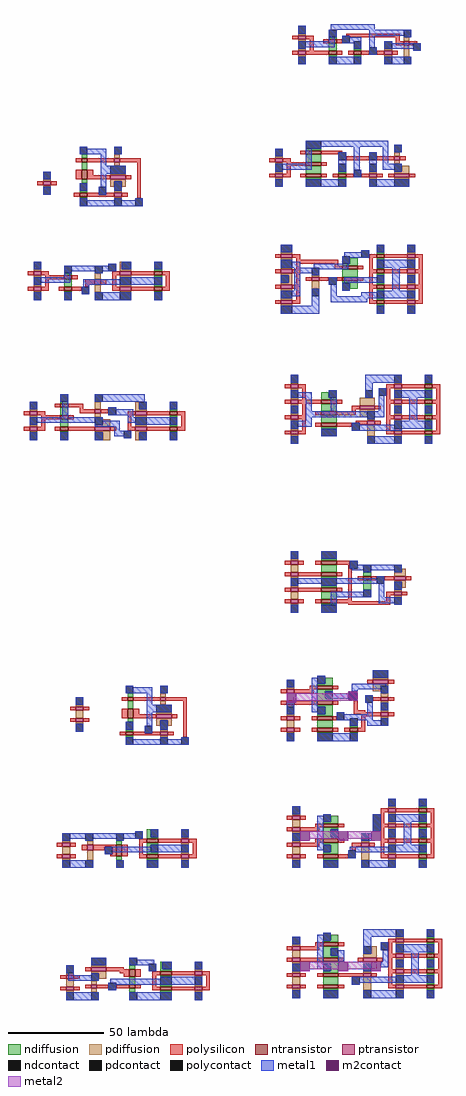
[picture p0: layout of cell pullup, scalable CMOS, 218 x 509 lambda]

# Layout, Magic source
magic
tech scmos
use m_p1 m_p1_0
transform 1 0 107 0 1 150
box -109 35 -42 57
use s_p1_phi s_p1_phi_0
transform 1 0 -23 0 1 133
box -113 -21 -57 10
use m_p1_phi m_p1_phi_0
transform 1 0 92 0 1 96
box -106 25 -30 50
use s_p1inv s_p1inv_0
transform 1 0 -26 0 1 79
box -114 -18 -39 6
use m_p1inv m_p1inv_0
transform 1 0 112 0 1 61
box -123 -7 -45 33
use s_p1inv_plo s_p1inv_plo_0
transform 1 0 -27 0 1 6
box -115 -18 -30 8
use m_p1inv_plo m_p1inv_plo_0
transform 1 0 113 0 1 -7
box -119 -7 -37 33
use m_p2 m_p2_0
transform 1 0 -5 0 1 -80
box -2 -21 65 13
use s_p2_phi s_p2_phi_0
transform 1 0 -113 0 1 -161
box -6 -8 57 23
use m_p2_phi m_p2_phi_0
transform 1 0 -9 0 1 -141
box 1 -27 60 11
use s_p2inv s_p2inv_0
transform 1 0 -210 0 1 -300
box 85 65 159 89
use m_p2inv m_p2inv_0
transform 1 0 -102 0 1 -300
box 97 65 175 105
use s_p2inv_plo s_p2inv_plo_0
transform 1 0 -214 0 1 -362
box 91 58 170 82
use m_p2inv_plo m_p2inv_plo_0
transform 1 0 -98 0 1 -368
box 92 65 175 105
<< end >>

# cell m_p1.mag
magic
tech scmos
<< ndiffusion >>
rect -90 49 -86 50
rect -90 43 -86 47
rect -77 43 -73 44
rect -90 40 -86 41
rect -77 40 -73 41
<< pdiffusion >>
rect -106 51 -102 52
rect -106 48 -102 49
rect -106 43 -102 44
rect -51 48 -48 50
rect -61 43 -57 44
rect -106 40 -102 41
rect -61 40 -57 41
rect -51 40 -48 46
<< ntransistor >>
rect -90 47 -86 49
rect -90 41 -86 43
rect -77 41 -73 43
<< ptransistor >>
rect -106 49 -102 51
rect -106 41 -102 43
rect -51 46 -48 48
rect -61 41 -57 43
<< polysilicon >>
rect -109 49 -106 51
rect -102 49 -98 51
rect -81 51 -53 52
rect -100 43 -98 49
rect -93 47 -90 49
rect -86 47 -83 49
rect -79 50 -53 51
rect -55 48 -53 50
rect -109 41 -106 43
rect -102 41 -90 43
rect -86 41 -83 43
rect -80 41 -77 43
rect -73 41 -69 43
rect -55 46 -51 48
rect -48 47 -44 48
rect -48 46 -46 47
rect -65 41 -61 43
rect -57 41 -54 43
<< ndcontact >>
rect -90 50 -86 54
rect -77 44 -73 48
rect -90 36 -86 40
rect -77 36 -73 40
<< pdcontact >>
rect -106 52 -102 56
rect -106 44 -102 48
rect -51 50 -47 54
rect -61 44 -57 48
rect -106 36 -102 40
rect -61 36 -57 40
rect -51 36 -47 40
<< polycontact >>
rect -83 47 -79 51
rect -69 41 -65 45
rect -46 43 -42 47
<< metal1 >>
rect -106 52 -102 56
rect -89 54 -66 57
rect -90 50 -86 54
rect -69 51 -47 54
rect -83 50 -79 51
rect -90 48 -87 50
rect -106 45 -87 48
rect -83 47 -73 50
rect -106 44 -102 45
rect -77 44 -73 47
rect -69 45 -66 51
rect -51 50 -47 51
rect -61 47 -57 48
rect -69 41 -65 45
rect -61 44 -42 47
rect -46 43 -42 44
rect -106 36 -102 40
rect -90 36 -73 40
rect -61 36 -47 40
<< labels >>
rlabel polysilicon -107 42 -107 42 3 a
rlabel polysilicon -107 50 -107 50 3 a
rlabel space -109 35 -105 57 7 ^p
rlabel pdcontact -104 38 -104 38 1 Vdd!
rlabel pdcontact -104 54 -104 54 5 Vdd!
rlabel pdcontact -104 46 -104 46 3 _x
rlabel ndcontact -88 52 -88 52 5 _x
rlabel polycontact -67 43 -67 43 1 _x
rlabel ndcontact -88 38 -88 38 1 GND!
rlabel ndcontact -75 38 -75 38 1 GND!
rlabel pdcontact -49 52 -49 52 1 _x
rlabel pdcontact -49 38 -49 38 1 Vdd!
rlabel pdcontact -59 38 -59 38 1 Vdd!
<< end >>

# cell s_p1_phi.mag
magic
tech scmos
<< ndiffusion >>
rect -89 4 -86 6
rect -89 -2 -86 2
rect -89 -9 -86 -7
rect -90 -14 -86 -13
rect -90 -17 -86 -16
<< pdiffusion >>
rect -72 4 -69 6
rect -72 0 -69 2
rect -74 -5 -66 -4
rect -109 -8 -105 -7
rect -109 -11 -105 -10
rect -74 -8 -66 -7
rect -74 -11 -72 -8
rect -68 -11 -66 -8
rect -72 -14 -68 -13
rect -72 -17 -68 -16
<< ntransistor >>
rect -89 2 -86 4
rect -89 -7 -86 -2
rect -90 -16 -86 -14
<< ptransistor >>
rect -72 2 -69 4
rect -74 -7 -66 -5
rect -109 -10 -105 -8
rect -72 -16 -68 -14
<< polysilicon >>
rect -92 2 -89 4
rect -86 2 -72 4
rect -69 2 -58 4
rect -92 -7 -89 -2
rect -86 -5 -83 -2
rect -86 -7 -74 -5
rect -66 -7 -63 -5
rect -112 -10 -109 -8
rect -105 -10 -102 -8
rect -93 -16 -90 -14
rect -86 -15 -80 -14
rect -76 -15 -72 -14
rect -86 -16 -72 -15
rect -68 -16 -65 -14
rect -60 -17 -58 2
<< ndcontact >>
rect -90 6 -86 10
rect -90 -13 -86 -9
rect -90 -21 -86 -17
<< pdcontact >>
rect -72 6 -68 10
rect -109 -7 -105 -3
rect -74 -4 -66 0
rect -109 -15 -105 -11
rect -72 -13 -68 -8
rect -72 -21 -68 -17
<< polycontact >>
rect -80 -15 -76 -11
rect -61 -21 -57 -17
<< metal1 >>
rect -90 9 -86 10
rect -90 6 -76 9
rect -72 6 -68 10
rect -79 0 -76 6
rect -109 -7 -105 -3
rect -79 -4 -66 0
rect -109 -15 -105 -11
rect -90 -13 -86 -9
rect -79 -11 -76 -4
rect -80 -15 -76 -11
rect -72 -13 -68 -8
rect -90 -18 -86 -17
rect -72 -18 -68 -17
rect -61 -18 -57 -17
rect -90 -21 -57 -18
<< labels >>
rlabel polysilicon -110 -9 -110 -9 3 a
rlabel space -113 -15 -109 -3 7 ^p
rlabel polysilicon -90 -6 -90 -6 1 _PReset!
rlabel pdcontact -107 -13 -107 -13 1 Vdd!
rlabel pdcontact -107 -5 -107 -5 3 _x
rlabel pdcontact -70 -11 -70 -11 1 Vdd!
rlabel ndcontact -88 -11 -88 -11 1 GND!
rlabel pdcontact -70 8 -70 8 1 Vdd!
rlabel pdcontact -70 -2 -70 -2 1 _x
rlabel ndcontact -88 8 -88 8 5 _x
<< end >>

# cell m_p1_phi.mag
magic
tech scmos
<< ndiffusion >>
rect -87 45 -79 46
rect -87 39 -79 43
rect -87 33 -79 37
rect -70 33 -66 34
rect -87 30 -79 31
rect -70 30 -66 31
<< pdiffusion >>
rect -103 41 -99 42
rect -41 42 -38 44
rect -103 38 -99 39
rect -103 33 -99 34
rect -41 38 -38 40
rect -54 33 -50 34
rect -37 34 -33 37
rect -41 33 -33 34
rect -103 30 -99 31
rect -54 30 -50 31
rect -41 30 -33 31
<< ntransistor >>
rect -87 43 -79 45
rect -87 37 -79 39
rect -87 31 -79 33
rect -70 31 -66 33
<< ptransistor >>
rect -103 39 -99 41
rect -41 40 -38 42
rect -103 31 -99 33
rect -54 31 -50 33
rect -41 31 -33 33
<< polysilicon >>
rect -90 43 -87 45
rect -79 44 -68 45
rect -79 43 -70 44
rect -106 39 -103 41
rect -99 39 -95 41
rect -66 40 -54 42
rect -50 40 -41 42
rect -38 40 -35 42
rect -97 37 -87 39
rect -79 37 -76 39
rect -97 33 -95 37
rect -106 31 -103 33
rect -99 31 -95 33
rect -90 31 -87 33
rect -79 31 -76 33
rect -73 31 -70 33
rect -66 31 -62 33
rect -58 31 -54 33
rect -50 31 -47 33
rect -44 31 -41 33
rect -33 31 -30 33
<< ndcontact >>
rect -87 46 -79 50
rect -70 34 -66 38
rect -87 26 -79 30
rect -70 26 -66 30
<< pdcontact >>
rect -103 42 -99 46
rect -41 44 -37 48
rect -103 34 -99 38
rect -54 34 -50 38
rect -41 34 -37 38
rect -103 26 -99 30
rect -54 26 -50 30
rect -41 26 -33 30
<< polycontact >>
rect -70 40 -66 44
rect -54 40 -50 44
rect -62 31 -58 35
<< metal1 >>
rect -87 47 -44 50
rect -87 46 -79 47
rect -103 42 -99 46
rect -87 38 -84 46
rect -103 35 -84 38
rect -103 34 -99 35
rect -70 34 -66 44
rect -62 35 -59 47
rect -62 31 -58 35
rect -54 34 -50 44
rect -47 38 -44 47
rect -41 44 -37 48
rect -47 35 -37 38
rect -41 34 -37 35
rect -103 26 -99 30
rect -87 26 -66 30
rect -54 26 -33 30
<< labels >>
rlabel polysilicon -32 32 -32 32 7 _PReset!
rlabel polysilicon -104 32 -104 32 3 a
rlabel polysilicon -104 40 -104 40 3 a
rlabel space -106 25 -102 47 7 ^p
rlabel polysilicon -88 32 -88 32 1 _PReset!
rlabel ndcontact -81 48 -81 48 5 _x
rlabel ndcontact -81 28 -81 28 1 GND!
rlabel ndcontact -68 28 -68 28 1 GND!
rlabel polycontact -60 33 -60 33 1 _x
rlabel pdcontact -52 28 -52 28 1 Vdd!
rlabel pdcontact -37 28 -37 28 8 Vdd!
rlabel pdcontact -39 36 -39 36 1 _x
rlabel pdcontact -101 28 -101 28 1 Vdd!
rlabel pdcontact -101 44 -101 44 5 Vdd!
rlabel pdcontact -101 36 -101 36 3 _x
rlabel pdcontact -39 46 -39 46 5 Vdd!
<< end >>

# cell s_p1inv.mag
magic
tech scmos
<< ndiffusion >>
rect -95 -3 -91 -2
rect -48 -1 -44 0
rect -95 -9 -91 -5
rect -95 -12 -91 -11
rect -48 -4 -44 -3
rect -48 -9 -44 -8
rect -48 -12 -44 -11
<< pdiffusion >>
rect -111 -1 -107 0
rect -66 0 -65 4
rect -66 -1 -60 0
rect -111 -4 -107 -3
rect -111 -9 -107 -8
rect -79 -5 -76 -2
rect -111 -12 -107 -11
rect -79 -12 -76 -8
rect -66 -4 -60 -3
rect -66 -9 -60 -8
rect -66 -12 -60 -11
<< ntransistor >>
rect -95 -5 -91 -3
rect -48 -3 -44 -1
rect -95 -11 -91 -9
rect -48 -11 -44 -9
<< ptransistor >>
rect -111 -3 -107 -1
rect -66 -3 -60 -1
rect -79 -8 -76 -5
rect -111 -11 -107 -9
rect -66 -11 -60 -9
<< polysilicon >>
rect -114 -3 -111 -1
rect -107 -3 -103 -1
rect -105 -5 -95 -3
rect -91 -5 -88 -3
rect -70 -3 -66 -1
rect -60 -3 -48 -1
rect -44 -3 -40 -1
rect -105 -9 -103 -5
rect -84 -8 -79 -5
rect -76 -8 -73 -5
rect -84 -9 -82 -8
rect -114 -11 -111 -9
rect -107 -11 -103 -9
rect -98 -11 -95 -9
rect -91 -11 -86 -9
rect -70 -9 -68 -3
rect -42 -9 -40 -3
rect -70 -11 -66 -9
rect -60 -11 -48 -9
rect -44 -11 -40 -9
<< ndcontact >>
rect -95 -2 -91 2
rect -48 0 -44 4
rect -95 -16 -91 -12
rect -48 -8 -44 -4
rect -48 -16 -44 -12
<< pdcontact >>
rect -111 0 -107 4
rect -79 -2 -75 2
rect -65 0 -60 4
rect -111 -8 -107 -4
rect -111 -16 -107 -12
rect -66 -8 -60 -4
rect -79 -16 -75 -12
rect -66 -16 -60 -12
<< polycontact >>
rect -72 -1 -68 3
rect -86 -13 -82 -9
<< metal1 >>
rect -111 0 -107 4
rect -72 2 -68 3
rect -95 -1 -68 2
rect -65 0 -60 4
rect -48 0 -44 4
rect -95 -2 -91 -1
rect -79 -2 -75 -1
rect -95 -4 -92 -2
rect -111 -7 -92 -4
rect -66 -5 -44 -4
rect -111 -8 -107 -7
rect -85 -8 -44 -5
rect -85 -9 -82 -8
rect -111 -16 -107 -12
rect -95 -16 -91 -12
rect -86 -13 -82 -9
rect -79 -16 -60 -12
rect -48 -16 -44 -12
<< labels >>
rlabel space -45 -17 -40 5 3 ^n2
rlabel space -61 -18 -39 6 3 ^p2
rlabel polysilicon -112 -2 -112 -2 3 a
rlabel polysilicon -112 -10 -112 -10 3 a
rlabel space -114 -17 -110 5 7 ^p1
rlabel polysilicon -96 -4 -96 -4 5 a
rlabel pdcontact -77 0 -77 0 6 _x
rlabel polycontact -70 1 -70 1 5 _x
rlabel pdcontact -63 -14 -63 -14 1 Vdd!
rlabel ndcontact -46 -14 -46 -14 1 GND!
rlabel ndcontact -46 2 -46 2 5 GND!
rlabel pdcontact -62 -6 -62 -6 1 x
rlabel ndcontact -46 -6 -46 -6 1 x
rlabel pdcontact -62 2 -62 2 5 Vdd!
rlabel pdcontact -109 -6 -109 -6 1 _x
rlabel ndcontact -93 0 -93 0 5 _x
rlabel pdcontact -109 2 -109 2 5 Vdd!
rlabel ndcontact -93 -14 -93 -14 1 GND!
rlabel pdcontact -109 -14 -109 -14 1 Vdd!
rlabel polycontact -84 -11 -84 -11 1 x
rlabel metal1 -77 -14 -77 -14 1 Vdd!
<< end >>

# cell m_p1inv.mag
magic
tech scmos
<< ndiffusion >>
rect -70 26 -66 27
rect -84 21 -80 24
rect -88 20 -80 21
rect -70 23 -66 24
rect -70 18 -66 19
rect -88 14 -80 18
rect -88 11 -80 12
rect -84 8 -80 11
rect -70 15 -66 16
rect -70 10 -66 11
rect -70 7 -66 8
rect -70 2 -66 3
rect -70 -1 -66 0
<< pdiffusion >>
rect -120 26 -114 27
rect -120 23 -114 24
rect -120 18 -114 19
rect -54 26 -50 27
rect -120 15 -114 16
rect -116 11 -114 15
rect -120 10 -114 11
rect -54 23 -50 24
rect -54 18 -50 19
rect -104 14 -100 15
rect -120 7 -114 8
rect -120 2 -114 3
rect -104 8 -100 12
rect -54 15 -50 16
rect -54 10 -50 11
rect -54 7 -50 8
rect -54 2 -50 3
rect -120 -1 -114 0
rect -54 -1 -50 0
<< ntransistor >>
rect -70 24 -66 26
rect -88 18 -80 20
rect -70 16 -66 18
rect -88 12 -80 14
rect -70 8 -66 10
rect -70 0 -66 2
<< ptransistor >>
rect -120 24 -114 26
rect -54 24 -50 26
rect -120 16 -114 18
rect -54 16 -50 18
rect -104 12 -100 14
rect -120 8 -114 10
rect -54 8 -50 10
rect -120 0 -114 2
rect -54 0 -50 2
<< polysilicon >>
rect -123 24 -120 26
rect -114 24 -110 26
rect -112 23 -110 24
rect -112 21 -90 23
rect -112 18 -110 21
rect -92 20 -90 21
rect -74 24 -70 26
rect -66 24 -54 26
rect -50 24 -46 26
rect -123 16 -120 18
rect -114 16 -110 18
rect -112 10 -110 16
rect -92 18 -88 20
rect -80 18 -77 20
rect -74 18 -72 24
rect -48 18 -46 24
rect -74 16 -70 18
rect -66 16 -54 18
rect -50 16 -46 18
rect -107 12 -104 14
rect -100 12 -95 14
rect -123 8 -120 10
rect -114 8 -110 10
rect -112 2 -110 8
rect -91 12 -88 14
rect -80 12 -77 14
rect -74 10 -72 16
rect -48 10 -46 16
rect -74 8 -70 10
rect -66 8 -54 10
rect -50 8 -46 10
rect -123 0 -120 2
rect -114 0 -110 2
rect -74 2 -72 8
rect -48 2 -46 8
rect -74 0 -70 2
rect -66 0 -54 2
rect -50 0 -46 2
<< ndcontact >>
rect -88 21 -84 25
rect -70 27 -66 31
rect -70 19 -66 23
rect -88 7 -84 11
rect -70 11 -66 15
rect -70 3 -66 7
rect -70 -5 -66 -1
<< pdcontact >>
rect -120 27 -114 31
rect -120 19 -114 23
rect -54 27 -50 31
rect -120 11 -116 15
rect -104 15 -100 19
rect -54 19 -50 23
rect -120 3 -114 7
rect -104 4 -100 8
rect -54 11 -50 15
rect -54 3 -50 7
rect -120 -5 -114 -1
rect -54 -5 -50 -1
<< polycontact >>
rect -78 24 -74 28
rect -95 10 -91 14
<< metal1 >>
rect -120 27 -114 31
rect -78 27 -74 28
rect -70 27 -66 31
rect -54 27 -50 31
rect -87 25 -74 27
rect -88 24 -74 25
rect -120 22 -114 23
rect -120 19 -110 22
rect -88 21 -84 24
rect -103 19 -85 21
rect -70 19 -50 23
rect -113 18 -85 19
rect -113 16 -100 18
rect -120 11 -116 15
rect -113 7 -110 16
rect -104 15 -100 16
rect -70 14 -66 15
rect -95 10 -91 14
rect -87 11 -66 14
rect -120 4 -110 7
rect -120 3 -114 4
rect -104 -1 -100 8
rect -94 4 -91 10
rect -88 7 -84 11
rect -62 7 -58 19
rect -54 11 -50 15
rect -70 6 -50 7
rect -78 4 -50 6
rect -94 3 -50 4
rect -94 1 -75 3
rect -120 -5 -100 -1
rect -70 -5 -66 -1
rect -54 -5 -50 -1
<< labels >>
rlabel polysilicon -79 19 -79 19 1 a
rlabel space -123 -6 -119 32 7 ^p1
rlabel polysilicon -121 17 -121 17 3 a
rlabel polysilicon -121 25 -121 25 3 a
rlabel polysilicon -121 9 -121 9 3 a
rlabel polysilicon -121 1 -121 1 3 a
rlabel space -51 -6 -46 32 3 ^p2
rlabel space -67 -7 -45 33 3 ^n2
rlabel polycontact -93 12 -93 12 1 x
rlabel pdcontact -102 17 -102 17 4 _x
rlabel pdcontact -102 6 -102 6 1 Vdd!
rlabel ndcontact -86 9 -86 9 1 GND!
rlabel ndcontact -86 23 -86 23 5 _x
rlabel pdcontact -118 29 -118 29 5 Vdd!
rlabel pdcontact -118 -3 -118 -3 1 Vdd!
rlabel pdcontact -118 13 -118 13 5 Vdd!
rlabel pdcontact -118 5 -118 5 1 _x
rlabel pdcontact -118 21 -118 21 5 _x
rlabel ndcontact -68 -3 -68 -3 1 GND!
rlabel ndcontact -68 13 -68 13 5 GND!
rlabel ndcontact -68 5 -68 5 1 x
rlabel ndcontact -68 21 -68 21 5 x
rlabel ndcontact -68 29 -68 29 5 GND!
rlabel pdcontact -52 29 -52 29 5 Vdd!
rlabel pdcontact -52 21 -52 21 5 x
rlabel pdcontact -52 13 -52 13 5 Vdd!
rlabel pdcontact -52 5 -52 5 1 x
rlabel pdcontact -52 -3 -52 -3 1 Vdd!
<< end >>

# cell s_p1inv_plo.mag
magic
tech scmos
<< ndiffusion >>
rect -96 3 -92 4
rect -96 -3 -92 1
rect -39 -1 -35 0
rect -96 -9 -92 -5
rect -39 -4 -35 -3
rect -39 -9 -35 -8
rect -96 -12 -92 -11
rect -39 -12 -35 -11
<< pdiffusion >>
rect -112 -1 -108 0
rect -78 0 -75 4
rect -112 -4 -108 -3
rect -112 -9 -108 -8
rect -78 -4 -75 -2
rect -57 0 -55 4
rect -57 -1 -51 0
rect -74 -8 -70 -5
rect -78 -9 -70 -8
rect -57 -4 -51 -3
rect -57 -9 -51 -8
rect -112 -12 -108 -11
rect -78 -12 -70 -11
rect -74 -16 -70 -12
rect -57 -12 -51 -11
rect -57 -16 -55 -12
<< ntransistor >>
rect -96 1 -92 3
rect -96 -5 -92 -3
rect -39 -3 -35 -1
rect -96 -11 -92 -9
rect -39 -11 -35 -9
<< ptransistor >>
rect -112 -3 -108 -1
rect -78 -2 -75 0
rect -57 -3 -51 -1
rect -112 -11 -108 -9
rect -78 -11 -70 -9
rect -57 -11 -51 -9
<< polysilicon >>
rect -99 1 -96 3
rect -92 1 -84 3
rect -115 -3 -112 -1
rect -108 -3 -104 -1
rect -86 0 -84 1
rect -86 -2 -78 0
rect -75 -2 -71 0
rect -106 -5 -96 -3
rect -92 -5 -89 -3
rect -61 -3 -57 -1
rect -51 -3 -39 -1
rect -35 -3 -31 -1
rect -106 -9 -104 -5
rect -61 -9 -59 -3
rect -33 -9 -31 -3
rect -115 -11 -112 -9
rect -108 -11 -104 -9
rect -99 -11 -96 -9
rect -92 -11 -78 -9
rect -70 -11 -67 -9
rect -61 -11 -57 -9
rect -51 -11 -39 -9
rect -35 -11 -31 -9
<< ndcontact >>
rect -96 4 -92 8
rect -39 0 -35 4
rect -39 -8 -35 -4
rect -96 -16 -92 -12
rect -39 -16 -35 -12
<< pdcontact >>
rect -112 0 -108 4
rect -78 4 -74 8
rect -112 -8 -108 -4
rect -55 0 -51 4
rect -78 -8 -74 -4
rect -57 -8 -51 -4
rect -112 -16 -108 -12
rect -78 -16 -74 -12
rect -55 -16 -51 -12
<< polycontact >>
rect -71 -3 -67 1
rect -63 -15 -59 -11
<< metal1 >>
rect -96 4 -92 8
rect -78 4 -52 8
rect -112 0 -108 4
rect -95 -4 -92 4
rect -71 0 -67 1
rect -55 0 -51 4
rect -39 0 -35 4
rect -71 -3 -58 0
rect -61 -4 -58 -3
rect -112 -6 -74 -4
rect -112 -7 -65 -6
rect -61 -7 -35 -4
rect -112 -8 -108 -7
rect -78 -9 -65 -7
rect -57 -8 -35 -7
rect -68 -11 -65 -9
rect -112 -16 -108 -12
rect -96 -16 -92 -12
rect -78 -16 -74 -12
rect -68 -14 -59 -11
rect -63 -15 -59 -14
rect -55 -16 -51 -12
rect -39 -16 -35 -12
<< labels >>
rlabel polysilicon -113 -2 -113 -2 3 a
rlabel polysilicon -113 -10 -113 -10 3 a
rlabel space -115 -17 -111 5 7 ^p1
rlabel polysilicon -69 -10 -69 -10 5 _PReset!
rlabel polysilicon -97 -4 -97 -4 1 a
rlabel polysilicon -91 -10 -91 -10 1 _PReset!
rlabel space -36 -17 -31 5 3 ^n2
rlabel space -52 -18 -30 6 3 ^p2
rlabel pdcontact -110 -6 -110 -6 1 _x
rlabel pdcontact -110 2 -110 2 5 Vdd!
rlabel pdcontact -110 -14 -110 -14 1 Vdd!
rlabel pdcontact -76 -6 -76 -6 8 _x
rlabel polycontact -69 -1 -69 -1 5 x
rlabel ndcontact -94 -14 -94 -14 1 GND!
rlabel ndcontact -94 6 -94 6 5 _x
rlabel pdcontact -76 -14 -76 -14 5 Vdd!
rlabel pdcontact -76 6 -76 6 5 Vdd!
rlabel ndcontact -37 -14 -37 -14 1 GND!
rlabel ndcontact -37 2 -37 2 5 GND!
rlabel pdcontact -53 -6 -53 -6 1 x
rlabel ndcontact -37 -6 -37 -6 1 x
rlabel pdcontact -53 2 -53 2 5 Vdd!
rlabel pdcontact -53 -14 -53 -14 1 Vdd!
rlabel polycontact -61 -13 -61 -13 1 _x
<< end >>

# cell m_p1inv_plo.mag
magic
tech scmos
<< ndiffusion >>
rect -46 26 -42 27
rect -100 19 -96 22
rect -100 18 -92 19
rect -100 12 -92 16
rect -46 23 -42 24
rect -46 18 -42 19
rect -100 6 -92 10
rect -46 15 -42 16
rect -46 10 -42 11
rect -100 3 -92 4
rect -46 7 -42 8
rect -46 2 -42 3
rect -46 -1 -42 0
<< pdiffusion >>
rect -116 26 -112 27
rect -62 26 -58 27
rect -116 23 -112 24
rect -116 18 -112 19
rect -116 15 -112 16
rect -116 10 -112 11
rect -80 15 -72 19
rect -62 23 -58 24
rect -62 18 -58 19
rect -80 12 -72 13
rect -116 7 -112 8
rect -116 2 -112 3
rect -80 9 -76 12
rect -76 7 -72 8
rect -62 15 -58 16
rect -62 10 -58 11
rect -116 -1 -112 0
rect -76 -1 -72 5
rect -62 7 -58 8
rect -62 2 -58 3
rect -62 -1 -58 0
<< ntransistor >>
rect -46 24 -42 26
rect -100 16 -92 18
rect -46 16 -42 18
rect -100 10 -92 12
rect -46 8 -42 10
rect -100 4 -92 6
rect -46 0 -42 2
<< ptransistor >>
rect -116 24 -112 26
rect -62 24 -58 26
rect -116 16 -112 18
rect -62 16 -58 18
rect -80 13 -72 15
rect -116 8 -112 10
rect -62 8 -58 10
rect -116 0 -112 2
rect -76 5 -72 7
rect -62 0 -58 2
<< polysilicon >>
rect -119 24 -116 26
rect -112 24 -108 26
rect -66 24 -62 26
rect -58 24 -46 26
rect -42 24 -38 26
rect -110 18 -108 24
rect -119 16 -116 18
rect -112 16 -100 18
rect -92 16 -89 18
rect -110 10 -108 16
rect -66 18 -64 24
rect -40 18 -38 24
rect -66 16 -62 18
rect -58 16 -46 18
rect -42 16 -38 18
rect -84 13 -80 15
rect -72 13 -69 15
rect -84 12 -82 13
rect -103 10 -100 12
rect -92 10 -82 12
rect -119 8 -116 10
rect -112 8 -108 10
rect -110 2 -108 8
rect -66 10 -64 16
rect -40 10 -38 16
rect -66 8 -62 10
rect -58 8 -46 10
rect -42 8 -38 10
rect -82 6 -76 7
rect -103 4 -100 6
rect -92 4 -84 6
rect -119 0 -116 2
rect -112 0 -108 2
rect -80 5 -76 6
rect -72 5 -69 7
rect -66 2 -64 8
rect -40 2 -38 8
rect -66 0 -62 2
rect -58 0 -46 2
rect -42 0 -38 2
<< ndcontact >>
rect -46 27 -42 31
rect -96 19 -92 23
rect -46 19 -42 23
rect -46 11 -42 15
rect -100 -1 -92 3
rect -46 3 -42 7
rect -46 -5 -42 -1
<< pdcontact >>
rect -116 27 -112 31
rect -62 27 -58 31
rect -116 19 -112 23
rect -77 19 -73 23
rect -116 11 -112 15
rect -62 19 -58 23
rect -116 3 -112 7
rect -76 8 -72 12
rect -62 11 -58 15
rect -62 3 -58 7
rect -116 -5 -112 -1
rect -76 -5 -72 -1
rect -62 -5 -58 -1
<< polycontact >>
rect -70 20 -66 24
rect -84 2 -80 6
<< metal1 >>
rect -116 27 -112 31
rect -77 27 -58 31
rect -46 27 -42 31
rect -116 22 -112 23
rect -116 19 -105 22
rect -96 19 -92 23
rect -77 19 -73 27
rect -70 20 -66 24
rect -116 11 -112 15
rect -108 12 -105 19
rect -95 12 -92 19
rect -70 12 -67 20
rect -62 19 -42 23
rect -108 9 -67 12
rect -62 11 -58 15
rect -108 7 -105 9
rect -76 8 -72 9
rect -54 7 -50 19
rect -46 11 -42 15
rect -116 4 -105 7
rect -84 5 -80 6
rect -62 5 -42 7
rect -116 3 -112 4
rect -84 3 -42 5
rect -100 -1 -92 3
rect -84 2 -58 3
rect -116 -5 -112 -1
rect -76 -5 -58 -1
rect -46 -5 -42 -1
<< labels >>
rlabel polysilicon -117 1 -117 1 3 a
rlabel polysilicon -117 9 -117 9 3 a
rlabel polysilicon -117 25 -117 25 3 a
rlabel polysilicon -117 17 -117 17 3 a
rlabel space -119 -6 -115 32 7 ^p1
rlabel polysilicon -101 17 -101 17 1 a
rlabel polysilicon -82 14 -82 14 1 _PReset!
rlabel space -59 -7 -37 33 3 ^p2
rlabel space -43 -6 -38 32 3 ^n2
rlabel pdcontact -75 21 -75 21 5 Vdd!
rlabel pdcontact -74 10 -74 10 6 _x
rlabel pdcontact -114 21 -114 21 5 _x
rlabel pdcontact -114 5 -114 5 1 _x
rlabel pdcontact -114 13 -114 13 5 Vdd!
rlabel pdcontact -114 -3 -114 -3 1 Vdd!
rlabel pdcontact -114 29 -114 29 5 Vdd!
rlabel ndcontact -96 1 -96 1 1 GND!
rlabel ndcontact -94 21 -94 21 5 _x
rlabel pdcontact -74 -3 -74 -3 1 Vdd!
rlabel pdcontact -60 -3 -60 -3 1 Vdd!
rlabel pdcontact -60 5 -60 5 1 x
rlabel pdcontact -60 13 -60 13 5 Vdd!
rlabel pdcontact -60 21 -60 21 5 x
rlabel pdcontact -60 29 -60 29 5 Vdd!
rlabel ndcontact -44 29 -44 29 5 GND!
rlabel ndcontact -44 21 -44 21 5 x
rlabel ndcontact -44 5 -44 5 1 x
rlabel ndcontact -44 13 -44 13 5 GND!
rlabel ndcontact -44 -3 -44 -3 1 GND!
<< end >>

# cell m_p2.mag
magic
tech scmos
<< ndiffusion >>
rect 18 7 26 8
rect 18 1 26 5
rect 18 -2 26 -1
rect 18 -7 26 -6
rect 18 -13 26 -9
rect 40 -1 44 1
rect 40 -8 44 -3
rect 18 -16 26 -15
<< pdiffusion >>
rect 2 7 6 8
rect 2 1 6 5
rect 2 -2 6 -1
rect 2 -7 6 -6
rect 2 -13 6 -9
rect 60 1 62 3
rect 56 -1 62 1
rect 56 -4 62 -3
rect 60 -7 62 -4
rect 56 -9 60 -8
rect 2 -16 6 -15
rect 56 -12 60 -11
<< ntransistor >>
rect 18 5 26 7
rect 18 -1 26 1
rect 18 -9 26 -7
rect 40 -3 44 -1
rect 18 -15 26 -13
<< ptransistor >>
rect 2 5 6 7
rect 2 -1 6 1
rect 2 -9 6 -7
rect 56 -3 62 -1
rect 56 -11 60 -9
rect 2 -15 6 -13
<< polysilicon >>
rect -1 5 2 7
rect 6 5 9 7
rect 15 5 18 7
rect 26 5 33 7
rect 32 3 33 5
rect -1 -1 2 1
rect 6 -1 18 1
rect 26 -1 29 1
rect -1 -9 2 -7
rect 6 -9 18 -7
rect 26 -9 29 -7
rect 32 -13 34 3
rect 37 -3 40 -1
rect 44 -3 47 -1
rect 51 -3 56 -1
rect 62 -3 65 -1
rect 52 -11 56 -9
rect 60 -11 63 -9
rect -1 -15 2 -13
rect 6 -15 9 -13
rect 15 -15 18 -13
rect 26 -14 34 -13
rect 52 -14 54 -11
rect 26 -15 54 -14
rect 32 -16 54 -15
<< ndcontact >>
rect 18 8 26 12
rect 18 -6 26 -2
rect 40 1 44 5
rect 40 -12 44 -8
rect 18 -20 26 -16
<< pdcontact >>
rect 2 8 6 12
rect 2 -6 6 -2
rect 56 1 60 5
rect 56 -8 60 -4
rect 2 -20 6 -16
rect 56 -16 60 -12
<< polycontact >>
rect 33 3 37 7
rect 47 -5 51 -1
<< metal1 >>
rect 2 8 6 12
rect 18 8 26 12
rect 33 5 37 7
rect 33 3 60 5
rect 34 2 60 3
rect 40 1 44 2
rect 56 1 60 2
rect 47 -2 51 -1
rect 2 -5 51 -2
rect 2 -6 6 -5
rect 18 -6 26 -5
rect 40 -9 44 -8
rect 23 -12 44 -9
rect 48 -12 51 -5
rect 56 -8 60 -4
rect 23 -16 26 -12
rect 48 -15 60 -12
rect 56 -16 60 -15
rect 2 -20 6 -16
rect 18 -20 26 -16
<< labels >>
rlabel polysilicon 1 6 1 6 3 b
rlabel polysilicon 1 0 1 0 3 a
rlabel polysilicon 1 -8 1 -8 3 b
rlabel polysilicon 1 -14 1 -14 3 a
rlabel space -2 -21 2 13 7 ^p
rlabel pdcontact 4 -18 4 -18 1 Vdd!
rlabel pdcontact 4 -4 4 -4 1 _x
rlabel pdcontact 4 10 4 10 5 Vdd!
rlabel ndcontact 24 -18 24 -18 1 GND!
rlabel ndcontact 22 -4 22 -4 5 _x
rlabel ndcontact 24 10 24 10 5 GND!
rlabel pdcontact 58 -14 58 -14 2 _x
rlabel pdcontact 58 -6 58 -6 1 Vdd!
rlabel ndcontact 42 -10 42 -10 1 GND!
<< end >>

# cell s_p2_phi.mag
magic
tech scmos
<< ndiffusion >>
rect 25 17 28 19
rect 25 11 28 15
rect 25 4 28 6
rect 24 -1 28 0
rect 24 -4 28 -3
<< pdiffusion >>
rect 42 17 45 19
rect -2 12 2 13
rect 42 13 45 15
rect -2 6 2 10
rect 40 8 48 9
rect -2 3 2 4
rect 40 5 48 6
rect 40 2 42 5
rect 46 2 48 5
rect 42 -1 46 0
rect 42 -4 46 -3
<< ntransistor >>
rect 25 15 28 17
rect 25 6 28 11
rect 24 -3 28 -1
<< ptransistor >>
rect 42 15 45 17
rect -2 10 2 12
rect 40 6 48 8
rect -2 4 2 6
rect 42 -3 46 -1
<< polysilicon >>
rect 22 15 25 17
rect 28 15 42 17
rect 45 15 56 17
rect -5 10 -2 12
rect 2 10 5 12
rect 22 6 25 11
rect 28 8 31 11
rect 28 6 40 8
rect 48 6 51 8
rect -5 4 -2 6
rect 2 4 5 6
rect 21 -3 24 -1
rect 28 -2 34 -1
rect 38 -2 42 -1
rect 28 -3 42 -2
rect 46 -3 49 -1
rect 54 -4 56 15
<< ndcontact >>
rect 24 19 28 23
rect 24 0 28 4
rect 24 -8 28 -4
<< pdcontact >>
rect 42 19 46 23
rect -2 13 2 17
rect 40 9 48 13
rect -2 -1 2 3
rect 42 0 46 5
rect 42 -8 46 -4
<< polycontact >>
rect 34 -2 38 2
rect 53 -8 57 -4
<< metal1 >>
rect 24 22 28 23
rect 24 19 38 22
rect 42 19 46 23
rect -2 13 2 17
rect 35 13 38 19
rect 35 9 48 13
rect -2 -1 2 3
rect 24 0 28 4
rect 35 2 38 9
rect 34 -2 38 2
rect 42 0 46 5
rect 24 -5 28 -4
rect 42 -5 46 -4
rect 53 -5 57 -4
rect 24 -8 57 -5
<< labels >>
rlabel polysilicon -3 11 -3 11 3 b
rlabel polysilicon -3 5 -3 5 3 a
rlabel space -6 -1 -2 17 7 ^p
rlabel polysilicon 24 7 24 7 1 _PReset!
rlabel pdcontact 0 15 0 15 1 _x
rlabel pdcontact 0 1 0 1 1 Vdd!
rlabel pdcontact 44 2 44 2 1 Vdd!
rlabel ndcontact 26 2 26 2 1 GND!
rlabel pdcontact 44 21 44 21 1 Vdd!
rlabel pdcontact 44 11 44 11 1 _x
rlabel ndcontact 26 21 26 21 5 _x
<< end >>

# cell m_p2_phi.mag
magic
tech scmos
<< ndiffusion >>
rect 24 4 28 7
rect 20 3 28 4
rect 20 0 28 1
rect 20 -4 24 0
rect 20 -5 28 -4
rect 20 -8 28 -7
rect 24 -12 28 -8
rect 20 -13 28 -12
rect 20 -19 28 -15
rect 37 -19 41 -18
rect 20 -22 28 -21
rect 37 -22 41 -21
<< pdiffusion >>
rect 49 6 57 7
rect 49 3 57 4
rect 4 1 8 2
rect 49 0 53 3
rect 4 -5 8 -1
rect 4 -8 8 -7
rect 4 -13 8 -12
rect 53 -3 57 -1
rect 53 -6 57 -5
rect 53 -11 57 -10
rect 4 -19 8 -15
rect 53 -14 57 -13
rect 4 -22 8 -21
<< ntransistor >>
rect 20 1 28 3
rect 20 -7 28 -5
rect 20 -15 28 -13
rect 20 -21 28 -19
rect 37 -21 41 -19
<< ptransistor >>
rect 49 4 57 6
rect 4 -1 8 1
rect 4 -7 8 -5
rect 53 -5 57 -3
rect 4 -15 8 -13
rect 53 -13 57 -11
rect 4 -21 8 -19
<< polysilicon >>
rect 46 4 49 6
rect 57 4 60 6
rect 16 1 20 3
rect 28 1 31 3
rect 1 -1 4 1
rect 8 -1 18 1
rect 1 -7 4 -5
rect 8 -7 20 -5
rect 28 -7 31 -5
rect 39 -10 41 -5
rect 49 -5 53 -3
rect 57 -5 60 -3
rect 39 -11 45 -10
rect 1 -15 4 -13
rect 8 -15 11 -13
rect 17 -15 20 -13
rect 28 -15 30 -13
rect 39 -12 53 -11
rect 43 -13 53 -12
rect 57 -13 60 -11
rect 43 -19 45 -13
rect 1 -21 4 -19
rect 8 -21 11 -19
rect 17 -21 20 -19
rect 28 -21 31 -19
rect 34 -21 37 -19
rect 41 -21 45 -19
<< ndcontact >>
rect 20 4 24 8
rect 24 -4 28 0
rect 20 -12 24 -8
rect 37 -18 41 -14
rect 20 -26 28 -22
rect 37 -26 41 -22
<< pdcontact >>
rect 4 2 8 6
rect 49 7 57 11
rect 53 -1 57 3
rect 4 -12 8 -8
rect 53 -10 57 -6
rect 53 -18 57 -14
rect 4 -26 8 -22
<< polycontact >>
rect 36 -5 41 0
rect 45 -6 49 -2
rect 30 -15 34 -11
<< metal1 >>
rect 20 7 24 8
rect 49 7 57 11
rect 4 2 8 6
rect 17 4 24 7
rect 4 -12 8 -6
rect 17 -8 20 4
rect 38 3 56 4
rect 38 1 57 3
rect 38 0 41 1
rect 24 -1 28 0
rect 24 -4 36 -1
rect 53 -1 57 1
rect 45 -6 49 -2
rect 17 -11 24 -8
rect 20 -12 24 -11
rect 30 -12 34 -11
rect 46 -12 49 -6
rect 53 -10 57 -6
rect 30 -15 49 -12
rect 53 -15 57 -14
rect 37 -18 41 -15
rect 46 -18 57 -15
rect 4 -26 8 -22
rect 20 -26 41 -22
<< m2contact >>
rect 4 -6 9 -1
rect 36 -5 41 0
<< metal2 >>
rect 36 -1 41 0
rect 4 -5 41 -1
rect 4 -6 9 -5
<< labels >>
rlabel polysilicon 3 0 3 0 3 b
rlabel polysilicon 3 -6 3 -6 3 a
rlabel polysilicon 3 -14 3 -14 3 b
rlabel polysilicon 3 -20 3 -20 3 a
rlabel space 1 -27 5 7 7 ^p
rlabel metal2 39 -2 39 -2 1 _x
rlabel polysilicon 19 -20 19 -20 1 _PReset!
rlabel polysilicon 58 5 58 5 5 _PReset!
rlabel pdcontact 6 -24 6 -24 1 Vdd!
rlabel pdcontact 6 -10 6 -10 1 _x
rlabel pdcontact 6 4 6 4 5 Vdd!
rlabel ndcontact 24 -24 24 -24 1 GND!
rlabel ndcontact 39 -24 39 -24 1 GND!
rlabel pdcontact 55 -8 55 -8 5 Vdd!
rlabel ndcontact 26 -2 26 -2 5 _x
rlabel pdcontact 53 9 53 9 5 Vdd!
rlabel pdcontact 55 1 55 1 4 _x
<< end >>

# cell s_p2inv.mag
magic
tech scmos
<< ndiffusion >>
rect 132 83 134 87
rect 132 82 138 83
rect 116 79 119 81
rect 132 79 138 80
rect 132 75 134 79
rect 132 74 138 75
rect 116 71 119 73
rect 132 71 138 72
<< pdiffusion >>
rect 88 80 92 81
rect 101 79 104 81
rect 150 82 154 83
rect 88 74 92 78
rect 88 71 92 72
rect 101 71 104 76
rect 150 79 154 80
rect 150 74 154 75
rect 150 71 154 72
<< ntransistor >>
rect 132 80 138 82
rect 116 73 119 79
rect 132 72 138 74
<< ptransistor >>
rect 88 78 92 80
rect 150 80 154 82
rect 101 76 104 79
rect 88 72 92 74
rect 150 72 154 74
<< polysilicon >>
rect 85 78 88 80
rect 92 78 95 80
rect 128 80 132 82
rect 138 80 150 82
rect 154 80 158 82
rect 98 76 101 79
rect 104 78 116 79
rect 104 76 110 78
rect 85 72 88 74
rect 92 72 95 74
rect 114 74 116 78
rect 113 73 116 74
rect 119 73 122 79
rect 128 74 130 80
rect 156 74 158 80
rect 128 72 132 74
rect 138 72 150 74
rect 154 72 158 74
<< ndcontact >>
rect 116 81 120 85
rect 134 83 138 87
rect 134 75 138 79
rect 116 67 120 71
rect 132 67 138 71
<< pdcontact >>
rect 88 81 92 85
rect 100 81 104 85
rect 150 83 154 87
rect 150 75 154 79
rect 88 67 92 71
rect 100 67 104 71
rect 150 67 154 71
<< polycontact >>
rect 126 82 130 86
rect 110 74 114 78
<< metal1 >>
rect 126 85 130 86
rect 88 82 130 85
rect 134 83 138 87
rect 150 83 154 87
rect 88 81 92 82
rect 100 81 104 82
rect 116 81 120 82
rect 134 78 154 79
rect 110 75 154 78
rect 110 74 114 75
rect 88 67 104 71
rect 116 67 120 71
rect 132 67 138 71
rect 150 67 154 71
<< labels >>
rlabel space 153 66 158 88 3 ^p2
rlabel space 137 65 159 89 3 ^n2
rlabel polysilicon 87 73 87 73 3 a
rlabel polysilicon 87 79 87 79 3 b
rlabel space 85 66 89 86 7 ^p1
rlabel ndcontact 136 69 136 69 1 GND!
rlabel ndcontact 136 85 136 85 5 GND!
rlabel pdcontact 152 77 152 77 1 x
rlabel ndcontact 136 77 136 77 1 x
rlabel pdcontact 152 85 152 85 5 Vdd!
rlabel pdcontact 152 69 152 69 1 Vdd!
rlabel ndcontact 118 69 118 69 1 GND!
rlabel ndcontact 118 83 118 83 5 _x
rlabel pdcontact 102 83 102 83 4 _x
rlabel pdcontact 90 69 90 69 1 Vdd!
rlabel pdcontact 90 83 90 83 1 _x
<< end >>

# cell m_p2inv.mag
magic
tech scmos
<< ndiffusion >>
rect 166 98 170 99
rect 120 91 124 94
rect 116 90 124 91
rect 116 87 124 88
rect 116 83 120 87
rect 166 95 170 96
rect 166 90 170 91
rect 116 82 124 83
rect 166 87 170 88
rect 166 82 170 83
rect 116 79 124 80
rect 120 75 124 79
rect 116 74 124 75
rect 116 71 124 72
rect 166 79 170 80
rect 166 74 170 75
rect 166 71 170 72
<< pdiffusion >>
rect 150 98 154 99
rect 100 94 104 95
rect 100 88 104 92
rect 100 85 104 86
rect 150 95 154 96
rect 150 90 154 91
rect 100 80 104 81
rect 136 80 140 81
rect 150 87 154 88
rect 150 82 154 83
rect 100 74 104 78
rect 100 71 104 72
rect 136 71 140 78
rect 150 79 154 80
rect 150 74 154 75
rect 150 71 154 72
<< ntransistor >>
rect 166 96 170 98
rect 116 88 124 90
rect 166 88 170 90
rect 116 80 124 82
rect 166 80 170 82
rect 116 72 124 74
rect 166 72 170 74
<< ptransistor >>
rect 150 96 154 98
rect 100 92 104 94
rect 100 86 104 88
rect 150 88 154 90
rect 150 80 154 82
rect 100 78 104 80
rect 136 78 140 80
rect 100 72 104 74
rect 150 72 154 74
<< polysilicon >>
rect 146 96 150 98
rect 154 96 166 98
rect 170 96 174 98
rect 97 92 100 94
rect 104 92 107 94
rect 112 88 116 90
rect 124 88 127 90
rect 97 86 100 88
rect 104 86 114 88
rect 146 90 148 96
rect 172 90 174 96
rect 146 88 150 90
rect 154 88 166 90
rect 170 88 174 90
rect 112 80 116 82
rect 124 80 127 82
rect 146 82 148 88
rect 172 82 174 88
rect 146 80 150 82
rect 154 80 166 82
rect 170 80 174 82
rect 97 78 100 80
rect 104 78 114 80
rect 131 78 136 80
rect 140 78 143 80
rect 131 76 133 78
rect 97 72 100 74
rect 104 72 107 74
rect 113 72 116 74
rect 124 72 129 74
rect 146 74 148 80
rect 172 74 174 80
rect 146 72 150 74
rect 154 72 166 74
rect 170 72 174 74
<< ndcontact >>
rect 166 99 170 103
rect 116 91 120 95
rect 120 83 124 87
rect 166 91 170 95
rect 166 83 170 87
rect 116 75 120 79
rect 116 67 124 71
rect 166 75 170 79
rect 166 67 170 71
<< pdcontact >>
rect 150 99 154 103
rect 100 95 104 99
rect 100 81 104 85
rect 150 91 154 95
rect 136 81 140 85
rect 150 83 154 87
rect 100 67 104 71
rect 150 75 154 79
rect 136 67 140 71
rect 150 67 154 71
<< polycontact >>
rect 142 86 146 95
rect 129 72 133 76
<< metal1 >>
rect 150 99 154 103
rect 166 99 170 103
rect 100 95 104 99
rect 116 94 120 95
rect 113 91 120 94
rect 100 81 104 85
rect 113 79 116 91
rect 120 83 124 87
rect 142 86 146 95
rect 150 91 170 95
rect 136 81 141 85
rect 150 83 154 87
rect 158 79 162 91
rect 166 83 170 87
rect 113 76 120 79
rect 150 78 170 79
rect 130 76 170 78
rect 116 75 120 76
rect 129 75 170 76
rect 129 72 133 75
rect 100 67 104 71
rect 116 67 124 71
rect 136 67 154 71
rect 166 67 170 71
<< m2contact >>
rect 104 81 109 86
rect 124 81 129 86
rect 141 81 146 86
<< metal2 >>
rect 104 82 146 86
rect 104 81 109 82
rect 124 81 129 82
rect 141 81 146 82
<< labels >>
rlabel space 169 66 174 104 3 ^n2
rlabel space 153 65 175 105 3 ^p2
rlabel polysilicon 99 93 99 93 3 b
rlabel space 97 66 101 100 7 ^p1
rlabel polysilicon 99 87 99 87 3 a
rlabel polysilicon 99 79 99 79 3 b
rlabel polysilicon 99 73 99 73 3 a
rlabel polysilicon 115 81 115 81 3 b
rlabel polysilicon 115 89 115 89 1 a
rlabel pdcontact 152 101 152 101 5 Vdd!
rlabel pdcontact 152 93 152 93 1 x
rlabel pdcontact 152 85 152 85 5 Vdd!
rlabel pdcontact 152 77 152 77 1 x
rlabel pdcontact 152 69 152 69 1 Vdd!
rlabel ndcontact 168 93 168 93 1 x
rlabel ndcontact 168 101 168 101 5 GND!
rlabel ndcontact 168 77 168 77 1 x
rlabel ndcontact 168 85 168 85 5 GND!
rlabel ndcontact 168 69 168 69 1 GND!
rlabel pdcontact 102 97 102 97 5 Vdd!
rlabel pdcontact 138 83 138 83 6 _x
rlabel pdcontact 102 83 102 83 1 _x
rlabel ndcontact 118 69 118 69 1 GND!
rlabel pdcontact 102 69 102 69 1 Vdd!
rlabel polycontact 131 74 131 74 1 x
rlabel ndcontact 122 85 122 85 5 _x
rlabel polycontact 144 90 144 90 5 _x
rlabel metal1 138 69 138 69 1 Vdd!
<< end >>

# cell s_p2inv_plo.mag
magic
tech scmos
<< ndiffusion >>
rect 127 76 130 78
rect 143 76 144 80
rect 143 75 149 76
rect 127 68 130 72
rect 143 72 149 73
rect 143 67 149 68
rect 127 64 130 66
rect 143 64 149 65
<< pdiffusion >>
rect 107 77 115 78
rect 94 73 98 74
rect 107 74 115 75
rect 94 67 98 71
rect 111 71 115 74
rect 161 75 165 76
rect 107 68 110 70
rect 94 64 98 65
rect 107 64 110 66
rect 161 72 165 73
rect 161 67 165 68
rect 161 64 165 65
<< ntransistor >>
rect 127 72 130 76
rect 143 73 149 75
rect 127 66 130 68
rect 143 65 149 67
<< ptransistor >>
rect 107 75 115 77
rect 94 71 98 73
rect 161 73 165 75
rect 94 65 98 67
rect 107 66 110 68
rect 161 65 165 67
<< polysilicon >>
rect 104 75 107 77
rect 115 76 124 77
rect 115 75 127 76
rect 122 74 127 75
rect 91 71 94 73
rect 98 71 101 73
rect 124 72 127 74
rect 130 72 133 76
rect 139 73 143 75
rect 149 73 161 75
rect 165 73 169 75
rect 91 65 94 67
rect 98 65 101 67
rect 104 66 107 68
rect 110 66 116 68
rect 120 66 127 68
rect 130 66 133 68
rect 139 67 141 73
rect 167 67 169 73
rect 139 65 143 67
rect 149 65 161 67
rect 165 65 169 67
<< ndcontact >>
rect 127 78 131 82
rect 144 76 149 80
rect 143 68 149 72
rect 127 60 131 64
rect 143 60 149 64
<< pdcontact >>
rect 107 78 115 82
rect 94 74 98 78
rect 107 70 111 74
rect 161 76 165 80
rect 94 60 98 64
rect 161 68 165 72
rect 107 60 111 64
rect 161 60 165 64
<< polycontact >>
rect 137 75 141 79
rect 116 65 120 69
<< metal1 >>
rect 107 78 115 82
rect 127 81 131 82
rect 127 79 140 81
rect 127 78 141 79
rect 94 74 98 78
rect 137 75 141 78
rect 144 76 149 80
rect 161 76 165 80
rect 95 73 98 74
rect 107 73 111 74
rect 95 70 111 73
rect 143 71 165 72
rect 117 69 165 71
rect 116 68 165 69
rect 116 65 120 68
rect 94 60 111 64
rect 127 60 149 64
rect 161 60 165 64
<< labels >>
rlabel polysilicon 93 66 93 66 3 a
rlabel polysilicon 93 72 93 72 3 b
rlabel space 91 59 95 79 7 ^p1
rlabel polysilicon 116 76 116 76 5 _PReset!
rlabel space 164 59 169 81 3 ^p2
rlabel space 148 58 170 82 3 ^n2
rlabel ndcontact 129 62 129 62 1 GND!
rlabel ndcontact 129 80 129 80 5 _x
rlabel pdcontact 96 62 96 62 1 Vdd!
rlabel pdcontact 96 76 96 76 1 _x
rlabel pdcontact 111 80 111 80 1 Vdd!
rlabel pdcontact 109 72 109 72 5 _x
rlabel pdcontact 109 62 109 62 1 Vdd!
rlabel ndcontact 147 62 147 62 1 GND!
rlabel ndcontact 147 78 147 78 5 GND!
rlabel pdcontact 163 70 163 70 1 x
rlabel ndcontact 147 70 147 70 1 x
rlabel pdcontact 163 78 163 78 5 Vdd!
rlabel pdcontact 163 62 163 62 1 Vdd!
<< end >>

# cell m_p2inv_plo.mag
magic
tech scmos
<< ndiffusion >>
rect 116 97 120 100
rect 166 98 170 99
rect 112 96 120 97
rect 112 93 120 94
rect 112 89 116 93
rect 112 88 120 89
rect 166 95 170 96
rect 166 90 170 91
rect 112 85 120 86
rect 116 81 120 85
rect 112 80 120 81
rect 166 87 170 88
rect 166 82 170 83
rect 112 74 120 78
rect 112 71 120 72
rect 166 79 170 80
rect 166 74 170 75
rect 166 71 170 72
<< pdiffusion >>
rect 150 98 154 99
rect 96 94 100 95
rect 96 88 100 92
rect 137 90 140 94
rect 133 88 140 90
rect 150 95 154 96
rect 150 90 154 91
rect 96 85 100 86
rect 96 80 100 81
rect 133 85 140 86
rect 137 82 140 85
rect 150 87 154 88
rect 150 82 154 83
rect 133 80 137 81
rect 96 74 100 78
rect 96 71 100 72
rect 133 71 137 78
rect 150 79 154 80
rect 150 74 154 75
rect 150 71 154 72
<< ntransistor >>
rect 166 96 170 98
rect 112 94 120 96
rect 166 88 170 90
rect 112 86 120 88
rect 166 80 170 82
rect 112 78 120 80
rect 112 72 120 74
rect 166 72 170 74
<< ptransistor >>
rect 150 96 154 98
rect 96 92 100 94
rect 150 88 154 90
rect 96 86 100 88
rect 133 86 140 88
rect 150 80 154 82
rect 96 78 100 80
rect 133 78 137 80
rect 96 72 100 74
rect 150 72 154 74
<< polysilicon >>
rect 146 96 150 98
rect 154 96 166 98
rect 170 96 174 98
rect 108 94 112 96
rect 120 94 123 96
rect 93 92 96 94
rect 100 92 110 94
rect 146 90 148 96
rect 172 90 174 96
rect 146 88 150 90
rect 154 88 166 90
rect 170 88 174 90
rect 93 86 96 88
rect 100 86 112 88
rect 120 86 123 88
rect 130 86 133 88
rect 140 86 143 88
rect 146 82 148 88
rect 172 82 174 88
rect 146 80 150 82
rect 154 80 166 82
rect 170 80 174 82
rect 93 78 96 80
rect 100 78 103 80
rect 109 78 112 80
rect 120 78 133 80
rect 137 78 140 80
rect 93 72 96 74
rect 100 72 103 74
rect 109 72 112 74
rect 120 72 123 74
rect 146 74 148 80
rect 172 74 174 80
rect 146 72 150 74
rect 154 72 166 74
rect 170 72 174 74
<< ndcontact >>
rect 112 97 116 101
rect 166 99 170 103
rect 116 89 120 93
rect 166 91 170 95
rect 112 81 116 85
rect 166 83 170 87
rect 112 67 120 71
rect 166 75 170 79
rect 166 67 170 71
<< pdcontact >>
rect 96 95 100 99
rect 150 99 154 103
rect 133 90 137 94
rect 150 91 154 95
rect 96 81 100 85
rect 133 81 137 85
rect 150 83 154 87
rect 96 67 100 71
rect 150 75 154 79
rect 133 67 137 71
rect 150 67 154 71
<< polycontact >>
rect 142 92 146 96
rect 127 74 131 78
<< metal1 >>
rect 112 100 116 101
rect 96 95 100 99
rect 109 97 116 100
rect 133 99 154 103
rect 166 99 170 103
rect 96 81 100 85
rect 109 85 112 97
rect 116 92 120 93
rect 116 89 123 92
rect 133 90 137 99
rect 142 92 146 96
rect 120 86 123 89
rect 143 86 146 92
rect 150 91 170 95
rect 109 82 116 85
rect 112 81 116 82
rect 133 81 137 85
rect 142 83 146 86
rect 150 83 154 87
rect 158 79 162 91
rect 166 83 170 87
rect 150 78 170 79
rect 127 75 170 78
rect 127 74 131 75
rect 96 67 100 71
rect 112 67 120 71
rect 133 67 154 71
rect 166 67 170 71
<< m2contact >>
rect 100 81 105 86
rect 120 81 125 86
rect 137 81 142 86
<< metal2 >>
rect 100 82 142 86
rect 100 81 105 82
rect 120 81 125 82
rect 137 81 142 82
<< labels >>
rlabel space 169 66 174 104 3 ^n2
rlabel space 153 65 175 105 3 ^p2
rlabel polysilicon 132 87 132 87 1 _PReset!
rlabel polysilicon 95 93 95 93 3 b
rlabel polysilicon 95 87 95 87 3 a
rlabel polysilicon 95 79 95 79 3 b
rlabel polysilicon 95 73 95 73 3 a
rlabel polysilicon 111 73 111 73 1 _PReset!
rlabel space 92 67 96 99 7 ^p1
rlabel pdcontact 152 101 152 101 5 Vdd!
rlabel pdcontact 152 93 152 93 1 x
rlabel pdcontact 152 85 152 85 5 Vdd!
rlabel pdcontact 152 77 152 77 1 x
rlabel pdcontact 152 69 152 69 1 Vdd!
rlabel ndcontact 168 93 168 93 1 x
rlabel ndcontact 168 101 168 101 5 GND!
rlabel ndcontact 168 77 168 77 1 x
rlabel ndcontact 168 85 168 85 5 GND!
rlabel ndcontact 168 69 168 69 1 GND!
rlabel pdcontact 135 92 135 92 1 Vdd!
rlabel pdcontact 98 69 98 69 1 Vdd!
rlabel pdcontact 98 83 98 83 1 _x
rlabel pdcontact 98 97 98 97 5 Vdd!
rlabel ndcontact 116 69 116 69 1 GND!
rlabel pdcontact 135 83 135 83 6 _x
rlabel ndcontact 118 91 118 91 5 _x
rlabel polycontact 129 76 129 76 1 x
rlabel polycontact 144 94 144 94 5 _x
<< end >>
